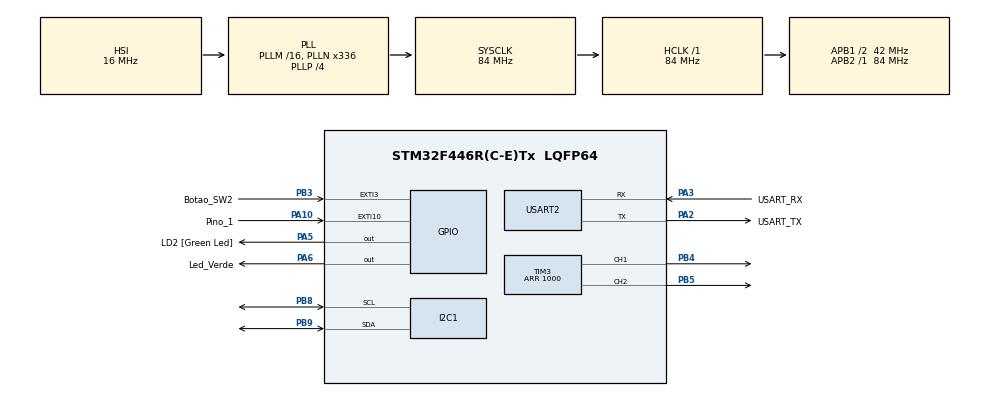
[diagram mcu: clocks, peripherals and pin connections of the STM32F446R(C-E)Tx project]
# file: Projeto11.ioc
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I2C1.I2C_Mode=I2C_Fast
Mcu.Family=STM32F4
Mcu.Name=STM32F446R(C-E)Tx
Mcu.Package=LQFP64
NVIC.EXTI15_10_IRQn=true\:0\:0\:false\:false\:true\:true\:true\:true
NVIC.EXTI3_IRQn=true\:0\:0\:false\:false\:true\:true\:true\:true
NVIC.PriorityGroup=NVIC_PRIORITYGROUP_0
NVIC.RTC_Alarm_IRQn=true\:0\:0\:false\:false\:true\:true\:true\:true
NVIC.TIM2_IRQn=true\:0\:0\:false\:false\:true\:true\:true\:true
PA10.GPIO_Label=Pino_1
PA10.GPIO_ModeDefaultEXTI=GPIO_MODE_IT_FALLING
PA10.Signal=GPXTI10
PA13.GPIO_Label=TMS
PA13.Mode=Serial_Wire
PA13.Signal=SYS_JTMS-SWDIO
PA14.GPIO_Label=TCK
PA14.Mode=Serial_Wire
PA14.Signal=SYS_JTCK-SWCLK
PA2.GPIO_Label=USART_TX
PA2.Mode=Asynchronous
PA2.Signal=USART2_TX
PA3.GPIO_Label=USART_RX
PA3.Mode=Asynchronous
PA3.Signal=USART2_RX
PA5.GPIO_Label=LD2 [Green Led]
PA5.Signal=GPIO_Output
PA6.GPIO_Label=Led_Verde
PA6.Signal=GPIO_Output
PB3.GPIO_Label=Botao_SW2
PB3.GPIO_ModeDefaultEXTI=GPIO_MODE_IT_FALLING
PB3.Signal=GPXTI3
PB4.Signal=S_TIM3_CH1
PB5.Signal=S_TIM3_CH2
PB8.Mode=I2C
PB8.Signal=I2C1_SCL
PB9.Mode=I2C
PB9.Signal=I2C1_SDA
PC14-OSC32_IN.Mode=LSE-External-Oscillator
PC14-OSC32_IN.Signal=RCC_OSC32_IN
PC15-OSC32_OUT.Mode=LSE-External-Oscillator
PC15-OSC32_OUT.Signal=RCC_OSC32_OUT
PH0-OSC_IN.Mode=HSE-External-Oscillator
PH0-OSC_IN.Signal=RCC_OSC_IN
PH1-OSC_OUT.Mode=HSE-External-Oscillator
PH1-OSC_OUT.Signal=RCC_OSC_OUT
ProjectManager.HeapSize=0x200
ProjectManager.StackSize=0x400
ProjectManager.TargetToolchain=STM32CubeIDE
RCC.48MHZClocksFreq_Value=84000000
RCC.AHBFreq_Value=84000000
RCC.APB1CLKDivider=RCC_HCLK_DIV2
RCC.APB1Freq_Value=42000000
RCC.APB1TimFreq_Value=84000000
RCC.APB2Freq_Value=84000000
RCC.APB2TimFreq_Value=84000000
RCC.CortexFreq_Value=84000000
RCC.FLatency-AdvancedSettings=FLASH_LATENCY_2
RCC.HCLKFreq_Value=84000000
RCC.HSE_VALUE=8000000
RCC.HSI_VALUE=16000000
RCC.PLLN=336
RCC.PLLP=RCC_PLLP_DIV4
RCC.SYSCLKFreq_VALUE=84000000
RCC.SYSCLKSource=RCC_SYSCLKSOURCE_PLLCLK
RCC.USBFreq_Value=168000000
RCC.VCOOutputFreq_Value=336000000
RTC.Alarm=RTC_ALARM_A
RTC.Date=30
RTC.Format=RTC_FORMAT_BIN
RTC.Hours=23
RTC.Minutes=59
RTC.Month=RTC_MONTH_JULY
RTC.WeekDay=RTC_WEEKDAY_SUNDAY
RTC.Year=23
SH.S_TIM3_CH1.0=TIM3_CH1,PWM Generation1 CH1
SH.S_TIM3_CH2.0=TIM3_CH2,PWM Generation2 CH2
TIM2.Period=24414
TIM2.Prescaler=65353
TIM3.Channel-PWM\ Generation1\ CH1=TIM_CHANNEL_1
TIM3.Channel-PWM\ Generation2\ CH2=TIM_CHANNEL_2
TIM3.Period=1000
TIM3.Pulse-PWM\ Generation1\ CH1=500
USART2.VirtualMode=VM_ASYNC
VP_RTC_VS_RTC_Activate.Mode=RTC_Enabled
VP_RTC_VS_RTC_Alarm_A_Intern.Mode=Alarm A
VP_RTC_VS_RTC_Calendar.Mode=RTC_Calendar
VP_TIM2_VS_ClockSourceINT.Mode=Internal
VP_TIM3_VS_ClockSourceINT.Mode=Internal
board=NUCLEO-F446RE

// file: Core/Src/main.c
/* USER CODE BEGIN Header */
/**
  ******************************************************************************
  * @file           : main.c
  * @brief          : Main program body
  ******************************************************************************
  * @attention
  *
  * <h2><center>&copy; Copyright (c) 2023 STMicroelectronics.
  * All rights reserved.</center></h2>
  *
  * This software component is licensed by ST under BSD 3-Clause license,
  * the "License"; You may not use this file except in compliance with the
  * License. You may obtain a copy of the License at:
  *                        opensource.org/licenses/BSD-3-Clause
  *
  ******************************************************************************
  */
/* USER CODE END Header */
#include "main.h"

/* USER CODE BEGIN Includes */
#include <stdio.h>
#include <string.h>
#include "ssd1306.h"
#include "fonts.h"
#include "bitmap.h"
#include "test.h"
/* USER CODE END Includes */

/* USER CODE BEGIN PTD */
volatile uint8_t aux_set_alarm = 0;
volatile uint8_t state = 0;
volatile uint8_t hora = 0;
volatile uint8_t minutos = 00;
volatile uint8_t segundos = 0;
/* USER CODE END PTD */

/* USER CODE BEGIN PD */
#define DEBOUNCE_TIME 300
/* USER CODE END PD */

I2C_HandleTypeDef hi2c1;

RTC_HandleTypeDef hrtc;

TIM_HandleTypeDef htim2;
TIM_HandleTypeDef htim3;

UART_HandleTypeDef huart2;

/* USER CODE BEGIN PV */
RTC_TimeTypeDef currentTime;
RTC_DateTypeDef currentDate;
/* USER CODE END PV */

void SystemClock_Config(void);
static void MX_GPIO_Init(void);
static void MX_USART2_UART_Init(void);
static void MX_I2C1_Init(void);
static void MX_RTC_Init(void);
static void MX_TIM3_Init(void);
static void MX_TIM2_Init(void);
/* USER CODE BEGIN PFP */
static void setPWM(TIM_HandleTypeDef, uint32_t, uint16_t, uint16_t);
/* USER CODE END PFP */

/* USER CODE BEGIN 0 */
void handle_SW2(volatile uint8_t state){
	switch(state){
	case 0:
	break;
	case 1:
		hora = (hora+1)%24;
	break;
	case 2:
		minutos = (minutos+1)%60;
	break;
	}
}

void set_alarm (uint8_t hr, uint8_t min, uint8_t sec, uint8_t date)
{
	RTC_AlarmTypeDef sAlarm = {0};
	sAlarm.AlarmTime.Hours = hr;
	sAlarm.AlarmTime.Minutes = min;
	sAlarm.AlarmTime.Seconds = sec;
	sAlarm.AlarmTime.SubSeconds = 0;
	sAlarm.AlarmTime.DayLightSaving = RTC_DAYLIGHTSAVING_NONE;
	sAlarm.AlarmTime.StoreOperation = RTC_STOREOPERATION_RESET;
	sAlarm.AlarmMask = RTC_ALARMMASK_NONE;
	sAlarm.AlarmSubSecondMask = RTC_ALARMSUBSECONDMASK_ALL;
	sAlarm.AlarmDateWeekDaySel = RTC_ALARMDATEWEEKDAYSEL_DATE;
	sAlarm.AlarmDateWeekDay = date;
	sAlarm.Alarm = RTC_ALARM_A;
	if (HAL_RTC_SetAlarm_IT(&hrtc, &sAlarm, RTC_FORMAT_BIN) != HAL_OK)
	{
		Error_Handler();
	}
}

/* USER CODE END 0 */

int main(void)
{
  /* USER CODE BEGIN 1 */
  char data[30];
  char horario[30];
  /* USER CODE END 1 */

  /* MCU Configuration--------------------------------------------------------*/

  /* Reset of all peripherals, Initializes the Flash interface and the Systick. */
  HAL_Init();

  /* Configure the system clock */
  SystemClock_Config();

  /* Initialize all configured peripherals */
  MX_GPIO_Init();
  MX_USART2_UART_Init();
  MX_I2C1_Init();
  MX_RTC_Init();
  MX_TIM3_Init();
  MX_TIM2_Init();
  /* USER CODE BEGIN 2 */
  HAL_RTC_DeactivateAlarm(&hrtc, RTC_ALARM_A);
  __HAL_TIM_CLEAR_IT(&htim2 ,TIM_IT_UPDATE);
  /* USER CODE END 2 */

  /* Infinite loop */
  /* USER CODE BEGIN WHILE */
  while (1)
  {
	switch(state){
	case 0:
		HAL_RTC_GetTime(&hrtc, &currentTime, RTC_FORMAT_BIN);
		HAL_RTC_GetDate(&hrtc, &currentDate, RTC_FORMAT_BIN);
		sprintf(data, "%0*i-%0*i-20%i", 2, currentDate.Date, 2, currentDate.Month, currentDate.Year);
		SSD1306_GotoXY (0,0);
		SSD1306_Puts (data, &Font_11x18, 1);
		sprintf(horario, "H:%0*i:%0*i:%0*i", 2, currentTime.Hours, 2, currentTime.Minutes, 2, currentTime.Seconds);
		SSD1306_GotoXY (0,30);
		SSD1306_Puts (horario, &Font_11x18, 1);
		HAL_Delay(1000);
		SSD1306_UpdateScreen();// update display
	break;
	case 1:
		SSD1306_GotoXY (0,0);
		SSD1306_Puts ("Modo Hora", &Font_11x18, 1);
		sprintf(horario, "H:%0*i:%0*i", 2, hora, 2, minutos);
		SSD1306_GotoXY (0,30);
		SSD1306_Puts (horario, &Font_11x18, 1);
		HAL_Delay(1000);
		SSD1306_UpdateScreen();
	break;
	case 2:
		SSD1306_GotoXY (0,0);
		SSD1306_Puts ("Modo Minuto", &Font_11x18, 1);
		sprintf(horario, "H:%0*i:%0*i", 2, hora, 2, minutos);
		SSD1306_GotoXY (0,30);
		SSD1306_Puts (horario, &Font_11x18, 1);
		HAL_Delay(1000);
		SSD1306_UpdateScreen();
	break;
	case 3:
		HAL_GPIO_WritePin(GPIOA, GPIO_PIN_5,GPIO_PIN_SET);
		SSD1306_GotoXY (0,0);
		SSD1306_Puts ("Alarm", &Font_11x18, 1);
  	  	if (aux_set_alarm != 1) {
  	  		set_alarm(hora,minutos,segundos,currentDate.Date);
  	  	}
  	  	if (aux_set_alarm == 1) {
  			HAL_GPIO_WritePin(GPIOA, GPIO_PIN_6,GPIO_PIN_SET);
  			setPWM(htim3,TIM_CHANNEL_1,10000,5000);
  	  	}
  	  	HAL_RTC_GetTime(&hrtc, &currentTime, RTC_FORMAT_BIN);
		HAL_RTC_GetDate(&hrtc, &currentDate, RTC_FORMAT_BIN);
		sprintf(data, "%0*i-%0*i-20%i", 2, currentDate.Date, 2, currentDate.Month, currentDate.Year);
		SSD1306_GotoXY (0,0);
		SSD1306_Puts (data, &Font_11x18, 1);
		sprintf(horario, "H:%0*i:%0*i:%0*i", 2, currentTime.Hours, 2, currentTime.Minutes, 2, currentTime.Seconds);
		SSD1306_GotoXY (0,30);
		SSD1306_Puts (horario, &Font_11x18, 1);
		HAL_Delay(1000);
		SSD1306_UpdateScreen();
	break;
	case 4:
		if (aux_set_alarm == 1) {
		HAL_RTC_DeactivateAlarm(&hrtc, RTC_ALARM_A);
		setPWM(htim3,TIM_CHANNEL_1,0,0);
		HAL_GPIO_WritePin(GPIOA, GPIO_PIN_6,GPIO_PIN_RESET);
		HAL_GPIO_WritePin(GPIOA, GPIO_PIN_5,GPIO_PIN_RESET);
		aux_set_alarm = 0;
		}
	state = 0;
	break;
	}
	  	/*

    /* USER CODE END WHILE */

	}
}

void SystemClock_Config(void)
{
  RCC_OscInitTypeDef RCC_OscInitStruct = {0};
  RCC_ClkInitTypeDef RCC_ClkInitStruct = {0};
  RCC_PeriphCLKInitTypeDef PeriphClkInitStruct = {0};

  /** Configure the main internal regulator output voltage
  */
  __HAL_RCC_PWR_CLK_ENABLE();
  __HAL_PWR_VOLTAGESCALING_CONFIG(PWR_REGULATOR_VOLTAGE_SCALE3);
  /** Initializes the RCC Oscillators according to the specified parameters
  * in the RCC_OscInitTypeDef structure.
  */
  RCC_OscInitStruct.OscillatorType = RCC_OSCILLATORTYPE_HSI|RCC_OSCILLATORTYPE_LSI;
  RCC_OscInitStruct.LSEState = RCC_LSE_ON;
  RCC_OscInitStruct.HSIState = RCC_HSI_ON;
  RCC_OscInitStruct.HSICalibrationValue = RCC_HSICALIBRATION_DEFAULT;
  RCC_OscInitStruct.LSIState = RCC_LSI_ON;
  RCC_OscInitStruct.PLL.PLLState = RCC_PLL_ON;
  RCC_OscInitStruct.PLL.PLLSource = RCC_PLLSOURCE_HSI;
  RCC_OscInitStruct.PLL.PLLM = 16;
  RCC_OscInitStruct.PLL.PLLN = 336;
  RCC_OscInitStruct.PLL.PLLP = RCC_PLLP_DIV4;
  RCC_OscInitStruct.PLL.PLLQ = 2;
  RCC_OscInitStruct.PLL.PLLR = 2;
  if (HAL_RCC_OscConfig(&RCC_OscInitStruct) != HAL_OK)
  {
    Error_Handler();
  }
  /** Initializes the CPU, AHB and APB buses clocks
  */
  RCC_ClkInitStruct.ClockType = RCC_CLOCKTYPE_HCLK|RCC_CLOCKTYPE_SYSCLK
                              |RCC_CLOCKTYPE_PCLK1|RCC_CLOCKTYPE_PCLK2;
  RCC_ClkInitStruct.SYSCLKSource = RCC_SYSCLKSOURCE_PLLCLK;
  RCC_ClkInitStruct.AHBCLKDivider = RCC_SYSCLK_DIV1;
  RCC_ClkInitStruct.APB1CLKDivider = RCC_HCLK_DIV2;
  RCC_ClkInitStruct.APB2CLKDivider = RCC_HCLK_DIV1;

  if (HAL_RCC_ClockConfig(&RCC_ClkInitStruct, FLASH_LATENCY_2) != HAL_OK)
  {
    Error_Handler();
  }
  PeriphClkInitStruct.PeriphClockSelection = RCC_PERIPHCLK_RTC;
  PeriphClkInitStruct.RTCClockSelection = RCC_RTCCLKSOURCE_LSI;
  if (HAL_RCCEx_PeriphCLKConfig(&PeriphClkInitStruct) != HAL_OK)
  {
    Error_Handler();
  }
}

static void MX_I2C1_Init(void)
{

  hi2c1.Instance = I2C1;
  hi2c1.Init.ClockSpeed = 400000;
  hi2c1.Init.DutyCycle = I2C_DUTYCYCLE_2;
  hi2c1.Init.OwnAddress1 = 0;
  hi2c1.Init.AddressingMode = I2C_ADDRESSINGMODE_7BIT;
  hi2c1.Init.DualAddressMode = I2C_DUALADDRESS_DISABLE;
  hi2c1.Init.OwnAddress2 = 0;
  hi2c1.Init.GeneralCallMode = I2C_GENERALCALL_DISABLE;
  hi2c1.Init.NoStretchMode = I2C_NOSTRETCH_DISABLE;
  if (HAL_I2C_Init(&hi2c1) != HAL_OK)
  {
    Error_Handler();
  }

}

static void MX_RTC_Init(void)
{

  RTC_TimeTypeDef sTime = {0};
  RTC_DateTypeDef sDate = {0};
  RTC_AlarmTypeDef sAlarm = {0};

  /** Initialize RTC Only
  */
  hrtc.Instance = RTC;
  hrtc.Init.HourFormat = RTC_HOURFORMAT_24;
  hrtc.Init.AsynchPrediv = 127;
  hrtc.Init.SynchPrediv = 255;
  hrtc.Init.OutPut = RTC_OUTPUT_DISABLE;
  hrtc.Init.OutPutPolarity = RTC_OUTPUT_POLARITY_HIGH;
  hrtc.Init.OutPutType = RTC_OUTPUT_TYPE_OPENDRAIN;
  if (HAL_RTC_Init(&hrtc) != HAL_OK)
  {
    Error_Handler();
  }

  /** Initialize RTC and set the Time and Date
  */
  sTime.Hours = 00;
  sTime.Minutes = 00;
  sTime.Seconds = 0;
  sTime.DayLightSaving = RTC_DAYLIGHTSAVING_NONE;
  sTime.StoreOperation = RTC_STOREOPERATION_RESET;
  if (HAL_RTC_SetTime(&hrtc, &sTime, RTC_FORMAT_BIN) != HAL_OK)
  {
    Error_Handler();
  }
  sDate.WeekDay = RTC_WEEKDAY_SUNDAY;
  sDate.Month = RTC_MONTH_NOVEMBER;
  sDate.Date = 27;
  sDate.Year = 24;

  if (HAL_RTC_SetDate(&hrtc, &sDate, RTC_FORMAT_BIN) != HAL_OK)
  {
    Error_Handler();
  }
  /** Enable the Alarm A
  */
  sAlarm.AlarmTime.Hours = 0;
  sAlarm.AlarmTime.Minutes = 0;
  sAlarm.AlarmTime.Seconds = 0;
  sAlarm.AlarmTime.SubSeconds = 0;
  sAlarm.AlarmTime.DayLightSaving = RTC_DAYLIGHTSAVING_NONE;
  sAlarm.AlarmTime.StoreOperation = RTC_STOREOPERATION_RESET;
  sAlarm.AlarmMask = RTC_ALARMMASK_NONE;
  sAlarm.AlarmSubSecondMask = RTC_ALARMSUBSECONDMASK_ALL;
  sAlarm.AlarmDateWeekDaySel = RTC_ALARMDATEWEEKDAYSEL_DATE;
  sAlarm.AlarmDateWeekDay = 1;
  sAlarm.Alarm = RTC_ALARM_A;
  if (HAL_RTC_SetAlarm_IT(&hrtc, &sAlarm, RTC_FORMAT_BIN) != HAL_OK)
  {
    Error_Handler();
  }

}

static void MX_TIM2_Init(void)
{

  TIM_ClockConfigTypeDef sClockSourceConfig = {0};
  TIM_MasterConfigTypeDef sMasterConfig = {0};

  htim2.Instance = TIM2;
  htim2.Init.Prescaler = 65353;
  htim2.Init.CounterMode = TIM_COUNTERMODE_UP;
  htim2.Init.Period = 24414;
  htim2.Init.ClockDivision = TIM_CLOCKDIVISION_DIV1;
  htim2.Init.AutoReloadPreload = TIM_AUTORELOAD_PRELOAD_DISABLE;
  if (HAL_TIM_Base_Init(&htim2) != HAL_OK)
  {
    Error_Handler();
  }
  sClockSourceConfig.ClockSource = TIM_CLOCKSOURCE_INTERNAL;
  if (HAL_TIM_ConfigClockSource(&htim2, &sClockSourceConfig) != HAL_OK)
  {
    Error_Handler();
  }
  sMasterConfig.MasterOutputTrigger = TIM_TRGO_RESET;
  sMasterConfig.MasterSlaveMode = TIM_MASTERSLAVEMODE_DISABLE;
  if (HAL_TIMEx_MasterConfigSynchronization(&htim2, &sMasterConfig) != HAL_OK)
  {
    Error_Handler();
  }

}

static void MX_TIM3_Init(void)
{

  TIM_ClockConfigTypeDef sClockSourceConfig = {0};
  TIM_MasterConfigTypeDef sMasterConfig = {0};
  TIM_OC_InitTypeDef sConfigOC = {0};

  htim3.Instance = TIM3;
  htim3.Init.Prescaler = 0;
  htim3.Init.CounterMode = TIM_COUNTERMODE_UP;
  htim3.Init.Period = 1000;
  htim3.Init.ClockDivision = TIM_CLOCKDIVISION_DIV1;
  htim3.Init.AutoReloadPreload = TIM_AUTORELOAD_PRELOAD_DISABLE;
  if (HAL_TIM_Base_Init(&htim3) != HAL_OK)
  {
    Error_Handler();
  }
  sClockSourceConfig.ClockSource = TIM_CLOCKSOURCE_INTERNAL;
  if (HAL_TIM_ConfigClockSource(&htim3, &sClockSourceConfig) != HAL_OK)
  {
    Error_Handler();
  }
  if (HAL_TIM_PWM_Init(&htim3) != HAL_OK)
  {
    Error_Handler();
  }
  sMasterConfig.MasterOutputTrigger = TIM_TRGO_RESET;
  sMasterConfig.MasterSlaveMode = TIM_MASTERSLAVEMODE_DISABLE;
  if (HAL_TIMEx_MasterConfigSynchronization(&htim3, &sMasterConfig) != HAL_OK)
  {
    Error_Handler();
  }
  sConfigOC.OCMode = TIM_OCMODE_PWM1;
  sConfigOC.Pulse = 500;
  sConfigOC.OCPolarity = TIM_OCPOLARITY_HIGH;
  sConfigOC.OCFastMode = TIM_OCFAST_DISABLE;
  if (HAL_TIM_PWM_ConfigChannel(&htim3, &sConfigOC, TIM_CHANNEL_1) != HAL_OK)
  {
    Error_Handler();
  }
  sConfigOC.Pulse = 0;
  if (HAL_TIM_PWM_ConfigChannel(&htim3, &sConfigOC, TIM_CHANNEL_2) != HAL_OK)
  {
    Error_Handler();
  }
  HAL_TIM_MspPostInit(&htim3);

}

static void MX_USART2_UART_Init(void)
{

  huart2.Instance = USART2;
  huart2.Init.BaudRate = 115200;
  huart2.Init.WordLength = UART_WORDLENGTH_8B;
  huart2.Init.StopBits = UART_STOPBITS_1;
  huart2.Init.Parity = UART_PARITY_NONE;
  huart2.Init.Mode = UART_MODE_TX_RX;
  huart2.Init.HwFlowCtl = UART_HWCONTROL_NONE;
  huart2.Init.OverSampling = UART_OVERSAMPLING_16;
  if (HAL_UART_Init(&huart2) != HAL_OK)
  {
    Error_Handler();
  }

}

static void MX_GPIO_Init(void)
{
  GPIO_InitTypeDef GPIO_InitStruct = {0};

  /* GPIO Ports Clock Enable */
  __HAL_RCC_GPIOC_CLK_ENABLE();
  __HAL_RCC_GPIOH_CLK_ENABLE();
  __HAL_RCC_GPIOA_CLK_ENABLE();
  __HAL_RCC_GPIOB_CLK_ENABLE();

  /*Configure GPIO pin Output Level */
  HAL_GPIO_WritePin(GPIOA, LD2_Pin|Led_Verde_Pin, GPIO_PIN_RESET);

  /*Configure GPIO pins : LD2_Pin Led_Verde_Pin */
  GPIO_InitStruct.Pin = LD2_Pin|Led_Verde_Pin;
  GPIO_InitStruct.Mode = GPIO_MODE_OUTPUT_PP;
  GPIO_InitStruct.Pull = GPIO_NOPULL;
  GPIO_InitStruct.Speed = GPIO_SPEED_FREQ_LOW;
  HAL_GPIO_Init(GPIOA, &GPIO_InitStruct);

  /*Configure GPIO pin : Pino_1_Pin */
  GPIO_InitStruct.Pin = Pino_1_Pin;
  GPIO_InitStruct.Mode = GPIO_MODE_IT_FALLING;
  GPIO_InitStruct.Pull = GPIO_NOPULL;
  HAL_GPIO_Init(Pino_1_GPIO_Port, &GPIO_InitStruct);

  /*Configure GPIO pin : Botao_SW2_Pin */
  GPIO_InitStruct.Pin = Botao_SW2_Pin;
  GPIO_InitStruct.Mode = GPIO_MODE_IT_FALLING;
  GPIO_InitStruct.Pull = GPIO_NOPULL;
  HAL_GPIO_Init(Botao_SW2_GPIO_Port, &GPIO_InitStruct);

  /* EXTI interrupt init*/
  HAL_NVIC_SetPriority(EXTI3_IRQn, 0, 0);
  HAL_NVIC_EnableIRQ(EXTI3_IRQn);

  HAL_NVIC_SetPriority(EXTI15_10_IRQn, 0, 0);
  HAL_NVIC_EnableIRQ(EXTI15_10_IRQn);

}

/* USER CODE BEGIN 4 */
void HAL_GPIO_EXTI_Callback(uint16_t GPIO_Pin)
{
	static uint32_t last_interrupt_time = 0;  // Tempo da última interrupção
	    uint32_t current_time = HAL_GetTick();    // Obtém o tempo atual em milissegundos

	    // Verifica se o intervalo entre interrupções é maior que o tempo de debounce
	    if ((current_time - last_interrupt_time) > DEBOUNCE_TIME)
	    {
	        if (GPIO_Pin == GPIO_PIN_10)  // Verifica o pino do botão
	        {
	            // Atualiza o estado do botão, por exemplo, alternando entre 0, 1 e 2
	            state = (state + 1) % 5;
	            if (state == 1 || state == 2) {
	            	__HAL_TIM_CLEAR_IT(&htim2 ,TIM_IT_UPDATE);
	        		HAL_TIM_Base_Start_IT(&htim2);
	            }
	        }
	        else if (GPIO_Pin == GPIO_PIN_3)  // Outro botão ou função associada ao pino 3
	        {
	        	__HAL_TIM_CLEAR_IT(&htim2 ,TIM_IT_UPDATE);
	        	HAL_TIM_Base_Start_IT(&htim2);
	            handle_SW2(state);  // Chama a função para tratar a ação associada
	        }

	        last_interrupt_time = current_time;  // Atualiza o tempo da última interrupção
	    }
}

void HAL_RTC_AlarmAEventCallback(RTC_HandleTypeDef *hrtc) {
	aux_set_alarm = 1;
}

void HAL_TIM_PeriodElapsedCallback(TIM_HandleTypeDef *htim){
	if (state != 3) {
		state = 0;
		__HAL_TIM_CLEAR_IT(&htim2 ,TIM_IT_UPDATE);
	}
}

void setPWM(TIM_HandleTypeDef timer, uint32_t channel, uint16_t period, uint16_t pulse)
{
	 HAL_TIM_PWM_Stop(&timer, channel); // stop generation of pwm
	 TIM_OC_InitTypeDef sConfigOC;
	 timer.Init.Period = period; // set the period duration
	 HAL_TIM_PWM_Init(&timer); // reinititialise with new period value
	 sConfigOC.OCMode = TIM_OCMODE_PWM1;
	 sConfigOC.Pulse = pulse; // set the pulse duration
	 sConfigOC.OCPolarity = TIM_OCPOLARITY_HIGH;
	 sConfigOC.OCFastMode = TIM_OCFAST_DISABLE;
	 HAL_TIM_PWM_ConfigChannel(&timer, &sConfigOC, channel);
	 HAL_TIM_PWM_Start(&timer, channel); // start pwm generation
}

/* USER CODE END 4 */

void Error_Handler(void)
{
  __disable_irq();
  while (1)
  {
  }
}

/************************ (C) COPYRIGHT STMicroelectronics *****END OF FILE****/
